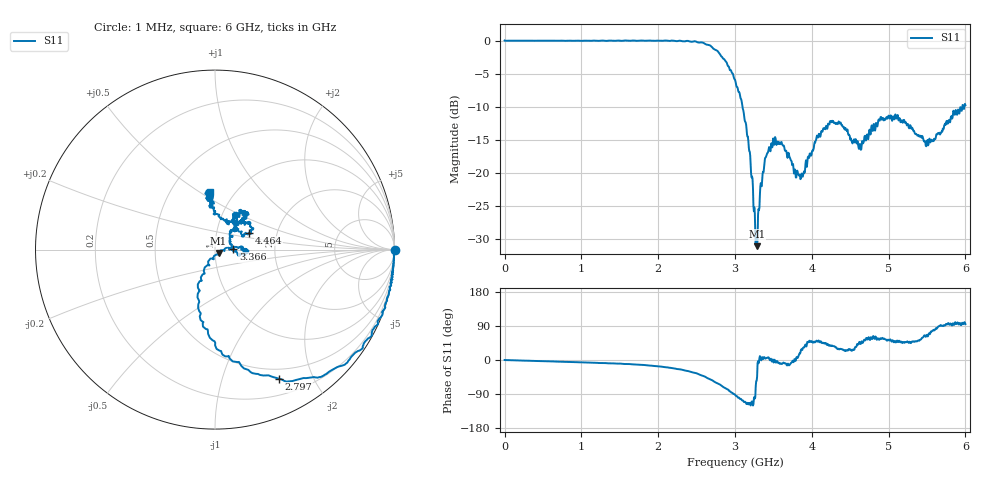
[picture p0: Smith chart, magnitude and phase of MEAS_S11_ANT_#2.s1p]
# GHZ S DB R 50.000000000000
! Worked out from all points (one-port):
!   1001 points, 1 MHz to 6 GHz, reference 50 ohm
!   lowest |S11| = -31.1 dB at 3.288 GHz (marker M1), VSWR 1.06, Z = 52 - j2 ohm
!   |S11| at or under -10 dB: 3.097 GHz to 5.96 GHz (2.863 GHz wide, 63.2 % of centre); 5.972471 GHz to 5.987918 GHz (15.45 MHz wide, 0.258 % of centre)
!   S11 on the Smith chart (normalised r, x): 1 MHz: open; 2.797 GHz: 0.38, -1.54; 3.366 GHz: 1.23, +0.01; 4.464 GHz: 1.44, +0.28; 6 GHz: 0.77, +0.56
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0.001  0.01 -0.0
0.750875  -0.01 -4.5
1.50075  0.00 -9.4
2.250625  -0.08 -23.9
2.574571  -0.29 -41.2
2.796534  -1.90 -63.7
3.0005  -5.92 -91.5
3.084486  -9.02 -104.4
3.144476  -12.66 -114.1
3.204466  -18.79 -120.0
3.264456  -29.01 -98.4
3.288452  -31.10 -43.6
3.366439  -19.84 2.3
3.42043  -17.02 5.5
3.522413  -14.59 -2.3
3.624396  -15.89 -8.2
3.750375  -18.78 -1.9
3.882353  -20.60 31.0
4.068322  -14.36 49.3
4.242293  -12.17 37.4
4.464256  -13.44 26.4
4.50025  -14.95 27.3
4.638227  -16.52 42.5
4.896184  -11.58 57.4
5.004166  -11.36 52.0
5.250125  -12.61 47.8
5.514081  -15.85 63.1
6  -9.77 94.8
